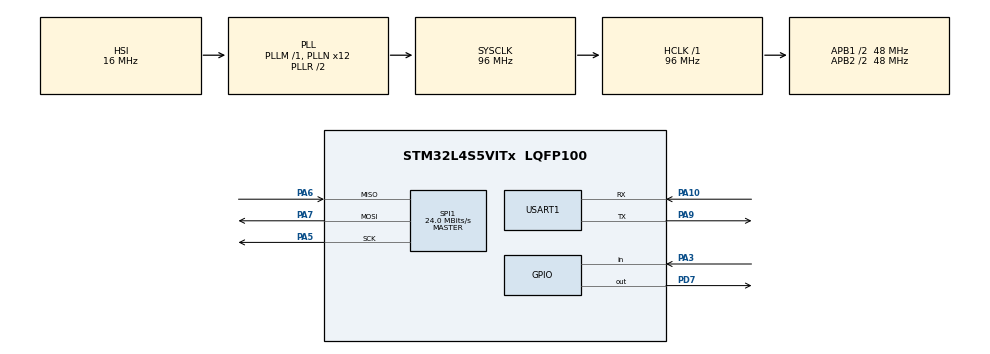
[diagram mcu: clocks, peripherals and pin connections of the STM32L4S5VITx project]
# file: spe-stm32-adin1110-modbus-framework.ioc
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Dma.Request0=SPI1_RX
Dma.Request1=SPI1_TX
Dma.SPI1_RX.0.Direction=DMA_PERIPH_TO_MEMORY
Dma.SPI1_RX.0.EventEnable=DISABLE
Dma.SPI1_RX.0.Instance=DMA1_Channel1
Dma.SPI1_RX.0.MemDataAlignment=DMA_MDATAALIGN_BYTE
Dma.SPI1_RX.0.MemInc=DMA_MINC_ENABLE
Dma.SPI1_RX.0.Mode=DMA_NORMAL
Dma.SPI1_RX.0.PeriphDataAlignment=DMA_PDATAALIGN_BYTE
Dma.SPI1_RX.0.PeriphInc=DMA_PINC_DISABLE
Dma.SPI1_RX.0.Polarity=HAL_DMAMUX_REQUEST_GEN_RISING
Dma.SPI1_RX.0.Priority=DMA_PRIORITY_LOW
Dma.SPI1_RX.0.RequestNumber=1
Dma.SPI1_RX.0.SignalID=NONE
Dma.SPI1_RX.0.SyncEnable=DISABLE
Dma.SPI1_RX.0.SyncPolarity=HAL_DMAMUX_SYNC_NO_EVENT
Dma.SPI1_RX.0.SyncRequestNumber=1
Dma.SPI1_RX.0.SyncSignalID=NONE
Dma.SPI1_TX.1.Direction=DMA_MEMORY_TO_PERIPH
Dma.SPI1_TX.1.EventEnable=DISABLE
Dma.SPI1_TX.1.Instance=DMA1_Channel2
Dma.SPI1_TX.1.MemDataAlignment=DMA_MDATAALIGN_BYTE
Dma.SPI1_TX.1.MemInc=DMA_MINC_ENABLE
Dma.SPI1_TX.1.Mode=DMA_NORMAL
Dma.SPI1_TX.1.PeriphDataAlignment=DMA_PDATAALIGN_BYTE
Dma.SPI1_TX.1.PeriphInc=DMA_PINC_DISABLE
Dma.SPI1_TX.1.Polarity=HAL_DMAMUX_REQUEST_GEN_RISING
Dma.SPI1_TX.1.Priority=DMA_PRIORITY_LOW
Dma.SPI1_TX.1.RequestNumber=1
Dma.SPI1_TX.1.SignalID=NONE
Dma.SPI1_TX.1.SyncEnable=DISABLE
Dma.SPI1_TX.1.SyncPolarity=HAL_DMAMUX_SYNC_NO_EVENT
Dma.SPI1_TX.1.SyncRequestNumber=1
Dma.SPI1_TX.1.SyncSignalID=NONE
FREERTOS.Mutexes01=adin,Static,adinControlBlock,Available;printfMutex,Static,printfMutexControlBlock,Available
FREERTOS.Tasks01=diag_task,0,512,start_diag_task,Default,NULL,Dynamic,NULL,NULL;network_task,0,512,start_network_task,Default,NULL,Dynamic,NULL,NULL;modbus_task,0,512,start_modbus_task,Default,NULL,Dynamic,NULL,NULL
FREERTOS.configMINIMAL_STACK_SIZE=512
FREERTOS.configTOTAL_HEAP_SIZE=262144
FREERTOS.configUSE_NEWLIB_REENTRANT=1
FREERTOS.configUSE_RECURSIVE_MUTEXES=1
IWDG.Prescaler=IWDG_PRESCALER_128
IWDG.Reload=2500
Mcu.Family=STM32L4
Mcu.Name=STM32L4S5VITx
Mcu.Package=LQFP100
NVIC.DMA1_Channel1_IRQn=true\:5\:0\:false\:false\:true\:true\:false\:true\:true
NVIC.DMA1_Channel2_IRQn=true\:5\:0\:false\:false\:true\:true\:false\:true\:true
NVIC.PriorityGroup=NVIC_PRIORITYGROUP_4
NVIC.TIM6_DAC_IRQn=true\:15\:0\:false\:false\:true\:false\:false\:true\:true
NVIC.TimeBase=TIM6_DAC_IRQn
NVIC.TimeBaseIP=TIM6
PA10.Mode=Asynchronous
PA10.Signal=USART1_RX
PA3.Signal=GPIO_Input
PA5.Mode=Full_Duplex_Master
PA5.Signal=SPI1_SCK
PA6.Mode=Full_Duplex_Master
PA6.Signal=SPI1_MISO
PA7.Mode=Full_Duplex_Master
PA7.Signal=SPI1_MOSI
PA9.Mode=Asynchronous
PA9.Signal=USART1_TX
PD7.Signal=GPIO_Output
ProjectManager.HeapSize=0x200
ProjectManager.StackSize=0x400
ProjectManager.TargetToolchain=STM32CubeIDE
RCC.ADCFreq_Value=64000000
RCC.AHBFreq_Value=96000000
RCC.APB1CLKDivider=RCC_HCLK_DIV2
RCC.APB1Freq_Value=48000000
RCC.APB1TimFreq_Value=96000000
RCC.APB2CLKDivider=RCC_HCLK_DIV2
RCC.APB2Freq_Value=48000000
RCC.APB2TimFreq_Value=96000000
RCC.CK48CLockSelection=RCC_USBCLKSOURCE_HSI48
RCC.CortexFreq_Value=96000000
RCC.HCLKFreq_Value=96000000
RCC.HSE_VALUE=8000000
RCC.HSI48_VALUE=48000000
RCC.HSI_VALUE=16000000
RCC.LSE_VALUE=32768
RCC.MSI_VALUE=4000000
RCC.PLLN=12
RCC.PLLSourceVirtual=RCC_PLLSOURCE_HSI
RCC.SYSCLKFreq_VALUE=96000000
RCC.SYSCLKSource=RCC_SYSCLKSOURCE_PLLCLK
RCC.USBFreq_Value=48000000
RCC.VCOOutputFreq_Value=192000000
SPI1.BaudRatePrescaler=SPI_BAUDRATEPRESCALER_2
SPI1.CalculateBaudRate=24.0 MBits/s
SPI1.DataSize=SPI_DATASIZE_8BIT
SPI1.Direction=SPI_DIRECTION_2LINES
SPI1.Mode=SPI_MODE_MASTER
SPI1.VirtualType=VM_MASTER
USART1.VirtualMode-Asynchronous=VM_ASYNC
VP_FREERTOS_VS_CMSIS_V1.Mode=CMSIS_V1
VP_IWDG_VS_IWDG.Mode=IWDG_Activate
VP_SYS_VS_tim6.Mode=TIM6
VP_TIM1_VS_ClockSourceITR.Mode=TriggerSource_ITR0
VP_TIM1_VS_ControllerModeClock.Mode=Clock Mode
board=custom

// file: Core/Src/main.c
/* USER CODE BEGIN Header */
/**
  ******************************************************************************
  * @file           : main.c
  * @brief          : Main program body
  ******************************************************************************
  * @attention
  *
  * Copyright (c) 2025 STMicroelectronics.
  * All rights reserved.
  *
  * This software is licensed under terms that can be found in the LICENSE file
  * in the root directory of this software component.
  * If no LICENSE file comes with this software, it is provided AS-IS.
  *
  ******************************************************************************
  */
/* USER CODE END Header */
#include "main.h"
#include "cmsis_os.h"

/* USER CODE BEGIN Includes */
#include "modbus_app.h"
#include "modbus_tcp.h"
#include "string.h"
#include "network.h"
#include "config.h"
/* USER CODE END Includes */

IWDG_HandleTypeDef hiwdg;

SPI_HandleTypeDef hspi1;
DMA_HandleTypeDef hdma_spi1_rx;
DMA_HandleTypeDef hdma_spi1_tx;

TIM_HandleTypeDef htim1;

UART_HandleTypeDef huart1;

osThreadId diag_taskHandle;
osThreadId network_taskHandle;
osThreadId modbus_taskHandle;
osMutexId adinHandle;
osStaticMutexDef_t adinControlBlock;
osMutexId printfMutexHandle;
osStaticMutexDef_t printfMutexControlBlock;
/* USER CODE BEGIN PV */
uint8_t network_init_completed = 0;
/* USER CODE END PV */

void SystemClock_Config(void);
static void MX_GPIO_Init(void);
static void MX_DMA_Init(void);
static void MX_TIM1_Init(void);
static void MX_SPI1_Init(void);
static void MX_USART1_UART_Init(void);
static void MX_IWDG_Init(void);
void start_diag_task(void const * argument);
void start_network_task(void const * argument);
void start_modbus_task(void const * argument);

/* USER CODE BEGIN 0 */
uint8_t circuit_board_network_is_initialized() {
	return network_init_completed;
}
/* USER CODE END 0 */

int main(void)
{

  /* MCU Configuration--------------------------------------------------------*/

  /* Reset of all peripherals, Initializes the Flash interface and the Systick. */
  HAL_Init();

  /* Configure the system clock */
  SystemClock_Config();

  /* Initialize all configured peripherals */
  MX_GPIO_Init();
  MX_DMA_Init();
  MX_TIM1_Init();
  MX_SPI1_Init();
  MX_USART1_UART_Init();
  MX_IWDG_Init();
  /* USER CODE BEGIN 2 */
  /* add user code */
  /* USER CODE END 2 */

  /* Create the mutex(es) */
  /* definition and creation of adin */
  osMutexStaticDef(adin, &adinControlBlock);
  adinHandle = osMutexCreate(osMutex(adin));

  /* definition and creation of printfMutex */
  osMutexStaticDef(printfMutex, &printfMutexControlBlock);
  printfMutexHandle = osMutexCreate(osMutex(printfMutex));

  /* Create the thread(s) */
  /* definition and creation of diag_task */
  osThreadDef(diag_task, start_diag_task, osPriorityNormal, 0, 512);
  diag_taskHandle = osThreadCreate(osThread(diag_task), NULL);

  /* definition and creation of network_task */
  osThreadDef(network_task, start_network_task, osPriorityNormal, 0, 512);
  network_taskHandle = osThreadCreate(osThread(network_task), NULL);

  /* definition and creation of modbus_task */
  osThreadDef(modbus_task, start_modbus_task, osPriorityNormal, 0, 512);
  modbus_taskHandle = osThreadCreate(osThread(modbus_task), NULL);

  /* Start scheduler */
  osKernelStart();

  /* We should never get here as control is now taken by the scheduler */

  /* Infinite loop */
  while (1)
  {

  }
}

void SystemClock_Config(void)
{
  RCC_OscInitTypeDef RCC_OscInitStruct = {0};
  RCC_ClkInitTypeDef RCC_ClkInitStruct = {0};

  /** Configure the main internal regulator output voltage
  */
  if (HAL_PWREx_ControlVoltageScaling(PWR_REGULATOR_VOLTAGE_SCALE1_BOOST) != HAL_OK)
  {
    Error_Handler();
  }

  /** Initializes the RCC Oscillators according to the specified parameters
  * in the RCC_OscInitTypeDef structure.
  */
  RCC_OscInitStruct.OscillatorType = RCC_OSCILLATORTYPE_HSI|RCC_OSCILLATORTYPE_LSI;
  RCC_OscInitStruct.HSIState = RCC_HSI_ON;
  RCC_OscInitStruct.HSICalibrationValue = RCC_HSICALIBRATION_DEFAULT;
  RCC_OscInitStruct.LSIState = RCC_LSI_ON;
  RCC_OscInitStruct.PLL.PLLState = RCC_PLL_ON;
  RCC_OscInitStruct.PLL.PLLSource = RCC_PLLSOURCE_HSI;
  RCC_OscInitStruct.PLL.PLLM = 1;
  RCC_OscInitStruct.PLL.PLLN = 12;
  RCC_OscInitStruct.PLL.PLLP = RCC_PLLP_DIV2;
  RCC_OscInitStruct.PLL.PLLQ = RCC_PLLQ_DIV2;
  RCC_OscInitStruct.PLL.PLLR = RCC_PLLR_DIV2;
  if (HAL_RCC_OscConfig(&RCC_OscInitStruct) != HAL_OK)
  {
    Error_Handler();
  }

  /** Initializes the CPU, AHB and APB buses clocks
  */
  RCC_ClkInitStruct.ClockType = RCC_CLOCKTYPE_HCLK|RCC_CLOCKTYPE_SYSCLK
                              |RCC_CLOCKTYPE_PCLK1|RCC_CLOCKTYPE_PCLK2;
  RCC_ClkInitStruct.SYSCLKSource = RCC_SYSCLKSOURCE_PLLCLK;
  RCC_ClkInitStruct.AHBCLKDivider = RCC_SYSCLK_DIV1;
  RCC_ClkInitStruct.APB1CLKDivider = RCC_HCLK_DIV2;
  RCC_ClkInitStruct.APB2CLKDivider = RCC_HCLK_DIV2;

  if (HAL_RCC_ClockConfig(&RCC_ClkInitStruct, FLASH_LATENCY_4) != HAL_OK)
  {
    Error_Handler();
  }
}

static void MX_IWDG_Init(void)
{

  hiwdg.Instance = IWDG;
  hiwdg.Init.Prescaler = IWDG_PRESCALER_128;
  hiwdg.Init.Window = 4095;
  hiwdg.Init.Reload = 2500;
  if (HAL_IWDG_Init(&hiwdg) != HAL_OK)
  {
    Error_Handler();
  }

}

static void MX_SPI1_Init(void)
{

  /* SPI1 parameter configuration*/
  hspi1.Instance = SPI1;
  hspi1.Init.Mode = SPI_MODE_MASTER;
  hspi1.Init.Direction = SPI_DIRECTION_2LINES;
  hspi1.Init.DataSize = SPI_DATASIZE_8BIT;
  hspi1.Init.CLKPolarity = SPI_POLARITY_LOW;
  hspi1.Init.CLKPhase = SPI_PHASE_1EDGE;
  hspi1.Init.NSS = SPI_NSS_SOFT;
  hspi1.Init.BaudRatePrescaler = SPI_BAUDRATEPRESCALER_2;
  hspi1.Init.FirstBit = SPI_FIRSTBIT_MSB;
  hspi1.Init.TIMode = SPI_TIMODE_DISABLE;
  hspi1.Init.CRCCalculation = SPI_CRCCALCULATION_DISABLE;
  hspi1.Init.CRCPolynomial = 7;
  hspi1.Init.CRCLength = SPI_CRC_LENGTH_DATASIZE;
  hspi1.Init.NSSPMode = SPI_NSS_PULSE_ENABLE;
  if (HAL_SPI_Init(&hspi1) != HAL_OK)
  {
    Error_Handler();
  }

}

static void MX_TIM1_Init(void)
{

  TIM_SlaveConfigTypeDef sSlaveConfig = {0};
  TIM_MasterConfigTypeDef sMasterConfig = {0};

  htim1.Instance = TIM1;
  htim1.Init.Prescaler = 0;
  htim1.Init.CounterMode = TIM_COUNTERMODE_UP;
  htim1.Init.Period = 65535;
  htim1.Init.ClockDivision = TIM_CLOCKDIVISION_DIV1;
  htim1.Init.RepetitionCounter = 0;
  htim1.Init.AutoReloadPreload = TIM_AUTORELOAD_PRELOAD_DISABLE;
  if (HAL_TIM_Base_Init(&htim1) != HAL_OK)
  {
    Error_Handler();
  }
  sSlaveConfig.SlaveMode = TIM_SLAVEMODE_EXTERNAL1;
  sSlaveConfig.InputTrigger = TIM_TS_ITR0;
  if (HAL_TIM_SlaveConfigSynchro(&htim1, &sSlaveConfig) != HAL_OK)
  {
    Error_Handler();
  }
  sMasterConfig.MasterOutputTrigger = TIM_TRGO_RESET;
  sMasterConfig.MasterOutputTrigger2 = TIM_TRGO2_RESET;
  sMasterConfig.MasterSlaveMode = TIM_MASTERSLAVEMODE_DISABLE;
  if (HAL_TIMEx_MasterConfigSynchronization(&htim1, &sMasterConfig) != HAL_OK)
  {
    Error_Handler();
  }

}

static void MX_USART1_UART_Init(void)
{

  huart1.Instance = USART1;
  huart1.Init.BaudRate = 115200;
  huart1.Init.WordLength = UART_WORDLENGTH_8B;
  huart1.Init.StopBits = UART_STOPBITS_1;
  huart1.Init.Parity = UART_PARITY_NONE;
  huart1.Init.Mode = UART_MODE_TX_RX;
  huart1.Init.HwFlowCtl = UART_HWCONTROL_NONE;
  huart1.Init.OverSampling = UART_OVERSAMPLING_16;
  huart1.Init.OneBitSampling = UART_ONE_BIT_SAMPLE_DISABLE;
  huart1.Init.ClockPrescaler = UART_PRESCALER_DIV1;
  huart1.AdvancedInit.AdvFeatureInit = UART_ADVFEATURE_NO_INIT;
  if (HAL_UART_Init(&huart1) != HAL_OK)
  {
    Error_Handler();
  }
  if (HAL_UARTEx_SetTxFifoThreshold(&huart1, UART_TXFIFO_THRESHOLD_1_8) != HAL_OK)
  {
    Error_Handler();
  }
  if (HAL_UARTEx_SetRxFifoThreshold(&huart1, UART_RXFIFO_THRESHOLD_1_8) != HAL_OK)
  {
    Error_Handler();
  }
  if (HAL_UARTEx_DisableFifoMode(&huart1) != HAL_OK)
  {
    Error_Handler();
  }

}

static void MX_DMA_Init(void)
{

  /* DMA controller clock enable */
  __HAL_RCC_DMAMUX1_CLK_ENABLE();
  __HAL_RCC_DMA1_CLK_ENABLE();

  /* DMA interrupt init */
  /* DMA1_Channel1_IRQn interrupt configuration */
  HAL_NVIC_SetPriority(DMA1_Channel1_IRQn, 5, 0);
  HAL_NVIC_EnableIRQ(DMA1_Channel1_IRQn);
  /* DMA1_Channel2_IRQn interrupt configuration */
  HAL_NVIC_SetPriority(DMA1_Channel2_IRQn, 5, 0);
  HAL_NVIC_EnableIRQ(DMA1_Channel2_IRQn);

}

static void MX_GPIO_Init(void)
{
  GPIO_InitTypeDef GPIO_InitStruct = {0};

  /* GPIO Ports Clock Enable */
  __HAL_RCC_GPIOA_CLK_ENABLE();
  __HAL_RCC_GPIOD_CLK_ENABLE();

  /*Configure GPIO pin Output Level */
  HAL_GPIO_WritePin(GPIOD, GPIO_PIN_7, GPIO_PIN_RESET);

  /*Configure GPIO pin : PA3 */
  GPIO_InitStruct.Pin = GPIO_PIN_3;
  GPIO_InitStruct.Mode = GPIO_MODE_INPUT;
  GPIO_InitStruct.Pull = GPIO_NOPULL;
  HAL_GPIO_Init(GPIOA, &GPIO_InitStruct);

  /*Configure GPIO pin : PD7 */
  GPIO_InitStruct.Pin = GPIO_PIN_7;
  GPIO_InitStruct.Mode = GPIO_MODE_OUTPUT_PP;
  GPIO_InitStruct.Pull = GPIO_NOPULL;
  GPIO_InitStruct.Speed = GPIO_SPEED_FREQ_LOW;
  HAL_GPIO_Init(GPIOD, &GPIO_InitStruct);

}

void start_diag_task(void const * argument)
{
  /* USER CODE BEGIN 5 */
  /* Infinite loop */
  for(;;)
  {
	// do diagnosis, watchdog, led blinking, ...
	osDelay(200);

  }
  /* USER CODE END 5 */
}

void start_network_task(void const * argument)
{
  /* USER CODE BEGIN start_network_task */
  network_init();
  network_init_completed = 1;
  /* Infinite loop */
  for(;;)
  {
	  adin1110_poll();
	  osDelay(NETWORK_TASK_INTERVAL_MS);
  }
  /* USER CODE END start_network_task */
}

void start_modbus_task(void const * argument)
{
  /* USER CODE BEGIN start_modbus_task */
  /* Infinite loop */
  osDelay(1000);
  ModbusCallbacks modbus_callbacks = {
		  .read_words = &modbus_read_words_callback,
		  .write_words = &modbus_write_words_callback
  };

  modbus_tcp_start(MODBUS_IP, MODBUS_PORT, MODBUS_MAX_CLIENTS, &modbus_callbacks);

  for(;;)
  {
    osDelay(1000);
  }
  /* USER CODE END start_modbus_task */
}

void HAL_TIM_PeriodElapsedCallback(TIM_HandleTypeDef *htim)
{
  if (htim->Instance == TIM6) {
    HAL_IncTick();
  }
}

void Error_Handler(void)
{
  __disable_irq();
  while (1)
  {
  }
}
